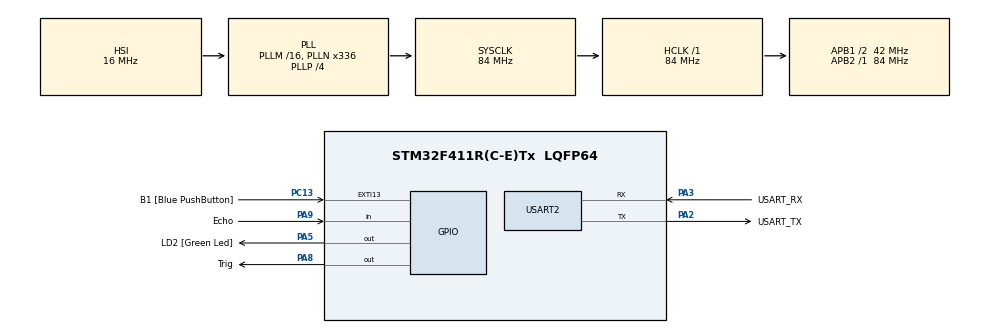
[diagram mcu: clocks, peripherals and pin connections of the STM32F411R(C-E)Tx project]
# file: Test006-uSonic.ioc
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Mcu.Family=STM32F4
Mcu.Name=STM32F411R(C-E)Tx
Mcu.Package=LQFP64
NVIC.PriorityGroup=NVIC_PRIORITYGROUP_0
PA13.GPIO_Label=TMS
PA13.Mode=Serial_Wire
PA13.Signal=SYS_JTMS-SWDIO
PA14.GPIO_Label=TCK
PA14.Mode=Serial_Wire
PA14.Signal=SYS_JTCK-SWCLK
PA2.GPIO_Label=USART_TX
PA2.Mode=Asynchronous
PA2.Signal=USART2_TX
PA3.GPIO_Label=USART_RX
PA3.Mode=Asynchronous
PA3.Signal=USART2_RX
PA5.GPIO_Label=LD2 [Green Led]
PA5.Signal=GPIO_Output
PA8.GPIO_Label=Trig
PA8.Signal=GPIO_Output
PA9.GPIO_Label=Echo
PA9.Signal=GPIO_Input
PB3.GPIO_Label=SWO
PB3.Signal=SYS_JTDO-SWO
PC13-ANTI_TAMP.GPIO_Label=B1 [Blue PushButton]
PC13-ANTI_TAMP.GPIO_ModeDefaultEXTI=GPIO_MODE_IT_FALLING
PC13-ANTI_TAMP.Signal=GPXTI13
PC14-OSC32_IN.Mode=LSE-External-Oscillator
PC14-OSC32_IN.Signal=RCC_OSC32_IN
PC15-OSC32_OUT.Mode=LSE-External-Oscillator
PC15-OSC32_OUT.Signal=RCC_OSC32_OUT
PH0\ -\ OSC_IN.Mode=HSE-External-Clock-Source
PH0\ -\ OSC_IN.Signal=RCC_OSC_IN
PH1\ -\ OSC_OUT.Mode=HSE-External-Clock-Source
PH1\ -\ OSC_OUT.Signal=RCC_OSC_OUT
ProjectManager.HeapSize=0x200
ProjectManager.StackSize=0x400
ProjectManager.TargetToolchain=STM32CubeIDE
RCC.48MHZClocksFreq_Value=84000000
RCC.AHBFreq_Value=84000000
RCC.APB1CLKDivider=RCC_HCLK_DIV2
RCC.APB1Freq_Value=42000000
RCC.APB1TimFreq_Value=84000000
RCC.APB2Freq_Value=84000000
RCC.APB2TimFreq_Value=84000000
RCC.CortexFreq_Value=84000000
RCC.FLatency-AdvancedSettings=FLASH_LATENCY_2
RCC.HCLKFreq_Value=84000000
RCC.HSE_VALUE=8000000
RCC.HSI_VALUE=16000000
RCC.PLLN=336
RCC.PLLP=RCC_PLLP_DIV4
RCC.SYSCLKFreq_VALUE=84000000
RCC.SYSCLKSource=RCC_SYSCLKSOURCE_PLLCLK
RCC.VCOOutputFreq_Value=336000000
TIM2.Prescaler=84-1
USART2.VirtualMode=VM_ASYNC
VP_TIM2_VS_ClockSourceINT.Mode=Internal
board=NUCLEO-F411RE

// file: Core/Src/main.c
/* USER CODE BEGIN Header */
/**
  ******************************************************************************
  * @file           : main.c
  * @brief          : Main program body
  ******************************************************************************
  * @attention
  *
  * Copyright (c) 2025 STMicroelectronics.
  * All rights reserved.
  *
  * This software is licensed under terms that can be found in the LICENSE file
  * in the root directory of this software component.
  * If no LICENSE file comes with this software, it is provided AS-IS.
  *
  ******************************************************************************
  */
/* USER CODE END Header */
#include "main.h"
/* USER CODE BEGIN Includes */
#include <stdio.h>
/* USER CODE END Includes */

TIM_HandleTypeDef htim2;
UART_HandleTypeDef huart2;

void SystemClock_Config(void);
static void MX_GPIO_Init(void);
static void MX_USART2_UART_Init(void);
static void MX_TIM2_Init(void);

/* USER CODE BEGIN 0 */
void microDelay(int us)// us : micro second
{
//	int t1 = htim2.Instance->CNT;
//	while (htim2.Instance->CNT - t1 < us);

	htim2.Instance->CNT = 0;
	int t1 = htim2.Instance->CNT;
	while (htim2.Instance->CNT - t1 < us);

}
void Trigger()
{
	HAL_GPIO_WritePin(Trig_GPIO_Port, Trig_Pin, 0);
	microDelay(10);
	HAL_GPIO_WritePin(Trig_GPIO_Port, Trig_Pin, 1);
	microDelay(10);
	HAL_GPIO_WritePin(Trig_GPIO_Port, Trig_Pin, 0);
	microDelay(10);
}
double Distance()
{
	int t0 = 0 ,t1,t2;
	htim2.Instance->CNT = 0;
	Trigger();
	//wait until Echo_High
	while(HAL_GPIO_ReadPin(Echo_GPIO_Port, Echo_Pin) == 0);
	{
		if(htim2.Instance->CNT > 30000)
		{
			return -1;
		}
	}
	t1 = htim2.Instance->CNT;
	while(HAL_GPIO_ReadPin(Echo_GPIO_Port, Echo_Pin) == 1);
	{
		if(htim2.Instance->CNT > t1 + 30000)
		{
			return -1;
		}
	}
	t2 = htim2.Instance->CNT;

	double dist =(t2 - t1)*0.17; // mili meter
	return dist;
}

/* USER CODE END 0 */

int main(void)
{

  /* MCU Configuration--------------------------------------------------------*/

  /* Reset of all peripherals, Initializes the Flash interface and the Systick. */
  HAL_Init();

  /* Configure the system clock */
  SystemClock_Config();

  /* Initialize all configured peripherals */
  MX_GPIO_Init();
  MX_USART2_UART_Init();
  MX_TIM2_Init();
  /* USER CODE BEGIN 2 */
  ProgramStart("Ultra Sonic SR-04(SRF-05)");
  HAL_TIM_Base_Start(&htim2);
  /* USER CODE END 2 */

  /* Infinite loop */
  /* USER CODE BEGIN WHILE */
  while (1)
  {
	printf("Distance : %f\r\n",Distance());
    HAL_Delay(500);
	/* USER CODE END WHILE */

  }
}

void SystemClock_Config(void)
{
  RCC_OscInitTypeDef RCC_OscInitStruct = {0};
  RCC_ClkInitTypeDef RCC_ClkInitStruct = {0};

  /** Configure the main internal regulator output voltage
  */
  __HAL_RCC_PWR_CLK_ENABLE();
  __HAL_PWR_VOLTAGESCALING_CONFIG(PWR_REGULATOR_VOLTAGE_SCALE1);

  /** Initializes the RCC Oscillators according to the specified parameters
  * in the RCC_OscInitTypeDef structure.
  */
  RCC_OscInitStruct.OscillatorType = RCC_OSCILLATORTYPE_HSI;
  RCC_OscInitStruct.HSIState = RCC_HSI_ON;
  RCC_OscInitStruct.HSICalibrationValue = RCC_HSICALIBRATION_DEFAULT;
  RCC_OscInitStruct.PLL.PLLState = RCC_PLL_ON;
  RCC_OscInitStruct.PLL.PLLSource = RCC_PLLSOURCE_HSI;
  RCC_OscInitStruct.PLL.PLLM = 16;
  RCC_OscInitStruct.PLL.PLLN = 336;
  RCC_OscInitStruct.PLL.PLLP = RCC_PLLP_DIV4;
  RCC_OscInitStruct.PLL.PLLQ = 4;
  if (HAL_RCC_OscConfig(&RCC_OscInitStruct) != HAL_OK)
  {
    Error_Handler();
  }

  /** Initializes the CPU, AHB and APB buses clocks
  */
  RCC_ClkInitStruct.ClockType = RCC_CLOCKTYPE_HCLK|RCC_CLOCKTYPE_SYSCLK
                              |RCC_CLOCKTYPE_PCLK1|RCC_CLOCKTYPE_PCLK2;
  RCC_ClkInitStruct.SYSCLKSource = RCC_SYSCLKSOURCE_PLLCLK;
  RCC_ClkInitStruct.AHBCLKDivider = RCC_SYSCLK_DIV1;
  RCC_ClkInitStruct.APB1CLKDivider = RCC_HCLK_DIV2;
  RCC_ClkInitStruct.APB2CLKDivider = RCC_HCLK_DIV1;

  if (HAL_RCC_ClockConfig(&RCC_ClkInitStruct, FLASH_LATENCY_2) != HAL_OK)
  {
    Error_Handler();
  }
}

static void MX_TIM2_Init(void)
{

  TIM_ClockConfigTypeDef sClockSourceConfig = {0};
  TIM_MasterConfigTypeDef sMasterConfig = {0};

  htim2.Instance = TIM2;
  htim2.Init.Prescaler = 84-1;
  htim2.Init.CounterMode = TIM_COUNTERMODE_UP;
  htim2.Init.Period = 4294967295;
  htim2.Init.ClockDivision = TIM_CLOCKDIVISION_DIV1;
  htim2.Init.AutoReloadPreload = TIM_AUTORELOAD_PRELOAD_DISABLE;
  if (HAL_TIM_Base_Init(&htim2) != HAL_OK)
  {
    Error_Handler();
  }
  sClockSourceConfig.ClockSource = TIM_CLOCKSOURCE_INTERNAL;
  if (HAL_TIM_ConfigClockSource(&htim2, &sClockSourceConfig) != HAL_OK)
  {
    Error_Handler();
  }
  sMasterConfig.MasterOutputTrigger = TIM_TRGO_RESET;
  sMasterConfig.MasterSlaveMode = TIM_MASTERSLAVEMODE_DISABLE;
  if (HAL_TIMEx_MasterConfigSynchronization(&htim2, &sMasterConfig) != HAL_OK)
  {
    Error_Handler();
  }

}

static void MX_USART2_UART_Init(void)
{

  huart2.Instance = USART2;
  huart2.Init.BaudRate = 115200;
  huart2.Init.WordLength = UART_WORDLENGTH_8B;
  huart2.Init.StopBits = UART_STOPBITS_1;
  huart2.Init.Parity = UART_PARITY_NONE;
  huart2.Init.Mode = UART_MODE_TX_RX;
  huart2.Init.HwFlowCtl = UART_HWCONTROL_NONE;
  huart2.Init.OverSampling = UART_OVERSAMPLING_16;
  if (HAL_UART_Init(&huart2) != HAL_OK)
  {
    Error_Handler();
  }

}

static void MX_GPIO_Init(void)
{
  GPIO_InitTypeDef GPIO_InitStruct = {0};

  /* GPIO Ports Clock Enable */
  __HAL_RCC_GPIOC_CLK_ENABLE();
  __HAL_RCC_GPIOH_CLK_ENABLE();
  __HAL_RCC_GPIOA_CLK_ENABLE();
  __HAL_RCC_GPIOB_CLK_ENABLE();

  /*Configure GPIO pin Output Level */
  HAL_GPIO_WritePin(GPIOA, LD2_Pin|Trig_Pin, GPIO_PIN_RESET);

  /*Configure GPIO pin : B1_Pin */
  GPIO_InitStruct.Pin = B1_Pin;
  GPIO_InitStruct.Mode = GPIO_MODE_IT_FALLING;
  GPIO_InitStruct.Pull = GPIO_NOPULL;
  HAL_GPIO_Init(B1_GPIO_Port, &GPIO_InitStruct);

  /*Configure GPIO pins : LD2_Pin Trig_Pin */
  GPIO_InitStruct.Pin = LD2_Pin|Trig_Pin;
  GPIO_InitStruct.Mode = GPIO_MODE_OUTPUT_PP;
  GPIO_InitStruct.Pull = GPIO_NOPULL;
  GPIO_InitStruct.Speed = GPIO_SPEED_FREQ_LOW;
  HAL_GPIO_Init(GPIOA, &GPIO_InitStruct);

  /*Configure GPIO pin : Echo_Pin */
  GPIO_InitStruct.Pin = Echo_Pin;
  GPIO_InitStruct.Mode = GPIO_MODE_INPUT;
  GPIO_InitStruct.Pull = GPIO_NOPULL;
  HAL_GPIO_Init(Echo_GPIO_Port, &GPIO_InitStruct);

}

void Error_Handler(void)
{
  __disable_irq();
  while (1)
  {
  }
}
